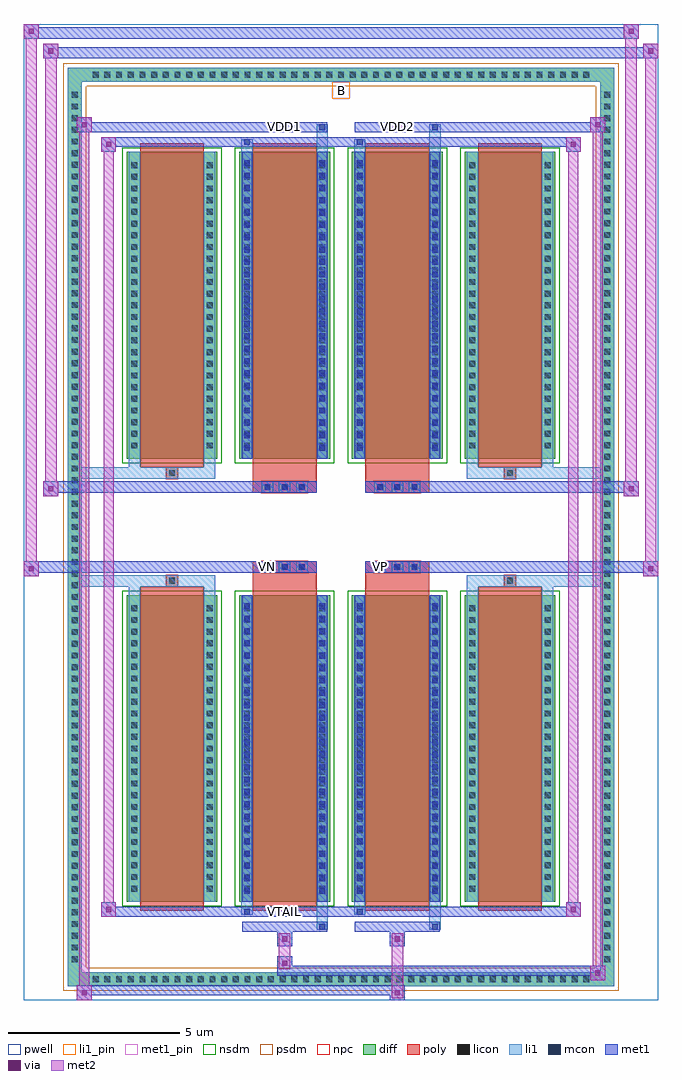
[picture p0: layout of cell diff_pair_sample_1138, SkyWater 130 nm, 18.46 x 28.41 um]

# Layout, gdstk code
import gdstk
lib = gdstk.Library(unit=1e-6, precision=5e-09)
def R(c, l, rs):  # rectangles x0, y0, x1, y1
    for r in rs: c.add(gdstk.rectangle(r[:2], r[2:], *l))
def A(c, l, x, y, w, h, nx, ny, dx, dy):  # array of equal rectangles
    R(c, l, [(x+i*dx, y+j*dy, x+i*dx+w, y+j*dy+h) for i in range(nx) for j in range(ny)])
def P(c, l, *ps):  # polygons
    for p in ps: c.add(gdstk.Polygon(p, *l))
pwell = (64, 44)
diff = (65, 20)
poly = (66, 20)
licon = (66, 44)
li1_pin = (67, 16)
li1 = (67, 20)
mcon = (67, 44)
met1_pin = (68, 16)
met1 = (68, 20)
via = (68, 44)
met2 = (69, 20)
nsdm = (93, 44)
psdm = (94, 20)
npc = (95, 20)

diff_pair_sample_1138 = lib.new_cell('diff_pair_sample_1138')
R(diff_pair_sample_1138, pwell, [(-9.23,-13.77,9.23,14.64), (-6.55,-11.96,-0.01,-0.8), (0.01,-11.96,6.55,-0.8), (-6.55,0.8,-0.01,11.96), (0.01,0.8,6.55,11.96)])
A(diff_pair_sample_1138, diff, -7.345, -13.37, 0.41, 0.41, 43, 2, 0.34, 26.33)
A(diff_pair_sample_1138, diff, -7.96, -12.785, 0.41, 0.41, 1, 75, 0, 0.34)
A(diff_pair_sample_1138, diff, 7.55, -12.785, 0.41, 0.41, 1, 75, 0, 0.34)
A(diff_pair_sample_1138, diff, -6.24, -10.915, 2.64, 8.93, 4, 2, 3.28, 12.9)
R(diff_pair_sample_1138, diff, [(-7.345,-13.37,7.345,-12.96), (-7.96,-12.785,-7.55,12.785), (7.55,-12.785,7.96,12.785), (-7.345,12.96,7.345,13.37)])
P(diff_pair_sample_1138, diff, [(7.96,13.37),(-7.96,13.37),(-7.96,-12.96),(-7.55,-12.96),(-7.55,12.96),(7.55,12.96),(7.55,-12.96),(-7.55,-12.96),(-7.96,-12.96),(-7.96,-13.37),(7.96,-13.37)])
A(diff_pair_sample_1138, poly, -5.85, -11.165, 1.86, 9.43, 4, 2, 3.28, 12.9)
A(diff_pair_sample_1138, poly, -2.305, -1.33, 0.33, 0.33, 3, 2, 0.5, 2.33)
A(diff_pair_sample_1138, poly, 0.975, -1.33, 0.33, 0.33, 3, 2, 0.5, 2.33)
R(diff_pair_sample_1138, poly, [(-5.085,-1.735,-4.755,-1.405), (-5.085,-1.735,-4.755,-1.405), (-2.57,-1.735,-0.71,-1.33), (0.71,-1.735,2.57,-1.33), (4.755,-1.735,5.085,-1.405), (4.755,-1.735,5.085,-1.405), (-2.57,-1.33,-0.71,-1), (0.71,-1.33,2.57,-1), (-2.57,1,-0.71,1.33), (0.71,1,2.57,1.33), (-2.57,1.33,-0.71,1.735), (0.71,1.33,2.57,1.735), (-5.085,1.405,-4.755,1.735), (-5.085,1.405,-4.755,1.735), (4.755,1.405,5.085,1.735), (4.755,1.405,5.085,1.735)])
A(diff_pair_sample_1138, licon, -7.225, -13.25, 0.17, 0.17, 43, 2, 0.34, 26.33)
A(diff_pair_sample_1138, licon, -7.84, -12.665, 0.17, 0.17, 1, 75, 0, 0.34)
A(diff_pair_sample_1138, licon, 7.67, -12.665, 0.17, 0.17, 1, 75, 0, 0.34)
A(diff_pair_sample_1138, licon, -6.1, -10.615, 0.17, 0.17, 1, 25, 0, 0.34)
A(diff_pair_sample_1138, licon, -3.91, -10.615, 0.17, 0.17, 1, 25, 0, 0.34)
A(diff_pair_sample_1138, licon, -2.82, -10.615, 0.17, 0.17, 1, 25, 0, 0.34)
A(diff_pair_sample_1138, licon, -0.63, -10.615, 0.17, 0.17, 1, 25, 0, 0.34)
A(diff_pair_sample_1138, licon, 0.46, -10.615, 0.17, 0.17, 1, 25, 0, 0.34)
A(diff_pair_sample_1138, licon, 2.65, -10.615, 0.17, 0.17, 1, 25, 0, 0.34)
A(diff_pair_sample_1138, licon, 3.74, -10.615, 0.17, 0.17, 1, 25, 0, 0.34)
A(diff_pair_sample_1138, licon, 5.93, -10.615, 0.17, 0.17, 1, 25, 0, 0.34)
A(diff_pair_sample_1138, licon, -2.225, -1.25, 0.17, 0.17, 3, 2, 0.5, 2.33)
A(diff_pair_sample_1138, licon, 1.055, -1.25, 0.17, 0.17, 3, 2, 0.5, 2.33)
A(diff_pair_sample_1138, licon, -6.1, 2.285, 0.17, 0.17, 1, 25, 0, 0.34)
A(diff_pair_sample_1138, licon, -3.91, 2.285, 0.17, 0.17, 1, 25, 0, 0.34)
A(diff_pair_sample_1138, licon, -2.82, 2.285, 0.17, 0.17, 1, 25, 0, 0.34)
A(diff_pair_sample_1138, licon, -0.63, 2.285, 0.17, 0.17, 1, 25, 0, 0.34)
A(diff_pair_sample_1138, licon, 0.46, 2.285, 0.17, 0.17, 1, 25, 0, 0.34)
A(diff_pair_sample_1138, licon, 2.65, 2.285, 0.17, 0.17, 1, 25, 0, 0.34)
A(diff_pair_sample_1138, licon, 3.74, 2.285, 0.17, 0.17, 1, 25, 0, 0.34)
A(diff_pair_sample_1138, licon, 5.93, 2.285, 0.17, 0.17, 1, 25, 0, 0.34)
R(diff_pair_sample_1138, licon, [(-5.005,-1.655,-4.835,-1.485), (4.835,-1.655,5.005,-1.485), (-5.005,1.485,-4.835,1.655), (4.835,1.485,5.005,1.655)])
R(diff_pair_sample_1138, li1_pin, [(-0.25,12.46,0.25,12.96)])
A(diff_pair_sample_1138, li1, -7.305, -13.33, 0.33, 0.33, 43, 2, 0.34, 26.33)
A(diff_pair_sample_1138, li1, -7.92, -12.745, 0.33, 0.33, 1, 75, 0, 0.34)
A(diff_pair_sample_1138, li1, 7.59, -12.745, 0.33, 0.33, 1, 75, 0, 0.34)
A(diff_pair_sample_1138, li1, -6.18, -10.695, 0.33, 0.33, 1, 25, 0, 0.34)
A(diff_pair_sample_1138, li1, -3.99, -10.695, 0.33, 0.33, 1, 25, 0, 0.34)
A(diff_pair_sample_1138, li1, -2.9, -10.695, 0.33, 0.33, 1, 25, 0, 0.34)
A(diff_pair_sample_1138, li1, -0.71, -10.695, 0.33, 0.33, 1, 25, 0, 0.34)
A(diff_pair_sample_1138, li1, 0.38, -10.695, 0.33, 0.33, 1, 25, 0, 0.34)
A(diff_pair_sample_1138, li1, 2.57, -10.695, 0.33, 0.33, 1, 25, 0, 0.34)
A(diff_pair_sample_1138, li1, 3.66, -10.695, 0.33, 0.33, 1, 25, 0, 0.34)
A(diff_pair_sample_1138, li1, 5.85, -10.695, 0.33, 0.33, 1, 25, 0, 0.34)
A(diff_pair_sample_1138, li1, -2.82, -10.675, 0.17, 0.17, 1, 24, 0, 0.36)
A(diff_pair_sample_1138, li1, -0.63, -10.675, 0.17, 0.17, 1, 24, 0, 0.36)
A(diff_pair_sample_1138, li1, 0.46, -10.675, 0.17, 0.17, 1, 24, 0, 0.36)
A(diff_pair_sample_1138, li1, 2.65, -10.675, 0.17, 0.17, 1, 24, 0, 0.36)
A(diff_pair_sample_1138, li1, -2.305, -1.33, 0.33, 0.33, 3, 2, 0.5, 2.33)
A(diff_pair_sample_1138, li1, 0.975, -1.33, 0.33, 0.33, 3, 2, 0.5, 2.33)
A(diff_pair_sample_1138, li1, -6.18, 2.205, 0.33, 0.33, 1, 25, 0, 0.34)
A(diff_pair_sample_1138, li1, -3.99, 2.205, 0.33, 0.33, 1, 25, 0, 0.34)
A(diff_pair_sample_1138, li1, -2.9, 2.205, 0.33, 0.33, 1, 25, 0, 0.34)
A(diff_pair_sample_1138, li1, -0.71, 2.205, 0.33, 0.33, 1, 25, 0, 0.34)
A(diff_pair_sample_1138, li1, 0.38, 2.205, 0.33, 0.33, 1, 25, 0, 0.34)
A(diff_pair_sample_1138, li1, 2.57, 2.205, 0.33, 0.33, 1, 25, 0, 0.34)
A(diff_pair_sample_1138, li1, 3.66, 2.205, 0.33, 0.33, 1, 25, 0, 0.34)
A(diff_pair_sample_1138, li1, 5.85, 2.205, 0.33, 0.33, 1, 25, 0, 0.34)
A(diff_pair_sample_1138, li1, -2.82, 2.225, 0.17, 0.17, 1, 24, 0, 0.36)
A(diff_pair_sample_1138, li1, -0.63, 2.225, 0.17, 0.17, 1, 24, 0, 0.36)
A(diff_pair_sample_1138, li1, 0.46, 2.225, 0.17, 0.17, 1, 24, 0, 0.36)
A(diff_pair_sample_1138, li1, 2.65, 2.225, 0.17, 0.17, 1, 24, 0, 0.36)
R(diff_pair_sample_1138, li1, [(-7.96,-13.37,-7.55,-12.96), (-7.96,-13.37,-7.55,-12.96), (-7.55,-13.37,7.55,-12.96), (7.55,-13.37,7.96,-12.96), (7.55,-13.37,7.96,-12.96), (-7.96,-12.96,-7.55,12.96), (7.55,-12.96,7.96,12.96), (-0.71,-11.72,-0.38,-10.915), (-0.63,-11.72,-0.46,-11.55), (2.57,-11.72,2.9,-10.915), (2.65,-11.72,2.82,-11.55), (-2.9,-11.29,-2.57,-10.915), (-2.82,-11.29,-2.65,-11.12), (0.38,-11.29,0.71,-10.915), (0.46,-11.29,0.63,-11.12), (-6.18,-10.915,-5.85,-1.985), (-3.99,-10.915,-3.66,-1.985), (-2.9,-10.915,-2.57,-1.985), (-0.71,-10.915,-0.38,-1.985), (0.38,-10.915,0.71,-1.985), (2.57,-10.915,2.9,-1.985), (3.66,-10.915,3.99,-1.985), (5.85,-10.915,6.18,-1.985), (-2.82,-10.675,-2.65,-2.225), (-0.63,-10.675,-0.46,-2.225), (0.46,-10.675,0.63,-2.225), (2.65,-10.675,2.82,-2.225), (-6.18,-1.985,-5.85,-1.405), (-3.99,-1.985,-3.66,-1.405), (3.66,-1.985,3.99,-1.405), (5.85,-1.985,6.18,-1.405), (-7.96,-1.735,-5.085,-1.405), (-6.18,-1.735,-5.085,-1.405), (-5.085,-1.735,-4.755,-1.405), (-4.755,-1.735,-3.66,-1.405), (3.66,-1.735,4.755,-1.405), (4.755,-1.735,5.085,-1.405), (4.755,-1.735,7.96,-1.405), (5.085,-1.735,6.18,-1.405), (-7.96,1.405,-5.085,1.735), (-6.18,1.405,-5.085,1.735), (-6.18,1.405,-5.85,1.985), (-5.085,1.405,-4.755,1.735), (-4.755,1.405,-3.66,1.735), (-3.99,1.405,-3.66,1.985), (3.66,1.405,4.755,1.735), (3.66,1.405,3.99,1.985), (4.755,1.405,5.085,1.735), (4.755,1.405,7.96,1.735), (5.085,1.405,6.18,1.735), (5.85,1.405,6.18,1.985), (-6.18,1.985,-5.85,10.915), (-3.99,1.985,-3.66,10.915), (-2.9,1.985,-2.57,10.915), (-0.71,1.985,-0.38,10.915), (0.38,1.985,0.71,10.915), (2.57,1.985,2.9,10.915), (3.66,1.985,3.99,10.915), (5.85,1.985,6.18,10.915), (-2.82,2.225,-2.65,10.675), (-0.63,2.225,-0.46,10.675), (0.46,2.225,0.63,10.675), (2.65,2.225,2.82,10.675), (-2.9,10.915,-2.57,11.29), (-0.71,10.915,-0.38,11.72), (0.38,10.915,0.71,11.29), (2.57,10.915,2.9,11.72), (-2.82,11.12,-2.65,11.29), (0.46,11.12,0.63,11.29), (-0.63,11.55,-0.46,11.72), (2.65,11.55,2.82,11.72), (-7.96,12.96,-7.55,13.37), (-7.96,12.96,-7.55,13.37), (-7.55,12.96,7.55,13.37), (7.55,12.96,7.96,13.37), (7.55,12.96,7.96,13.37)])
A(diff_pair_sample_1138, mcon, -2.82, -10.675, 0.17, 0.17, 1, 24, 0, 0.36)
A(diff_pair_sample_1138, mcon, -0.63, -10.675, 0.17, 0.17, 1, 24, 0, 0.36)
A(diff_pair_sample_1138, mcon, 0.46, -10.675, 0.17, 0.17, 1, 24, 0, 0.36)
A(diff_pair_sample_1138, mcon, 2.65, -10.675, 0.17, 0.17, 1, 24, 0, 0.36)
A(diff_pair_sample_1138, mcon, -2.225, -1.25, 0.17, 0.17, 3, 2, 0.5, 2.33)
A(diff_pair_sample_1138, mcon, 1.055, -1.25, 0.17, 0.17, 3, 2, 0.5, 2.33)
A(diff_pair_sample_1138, mcon, -2.82, 2.225, 0.17, 0.17, 1, 24, 0, 0.36)
A(diff_pair_sample_1138, mcon, -0.63, 2.225, 0.17, 0.17, 1, 24, 0, 0.36)
A(diff_pair_sample_1138, mcon, 0.46, 2.225, 0.17, 0.17, 1, 24, 0, 0.36)
A(diff_pair_sample_1138, mcon, 2.65, 2.225, 0.17, 0.17, 1, 24, 0, 0.36)
R(diff_pair_sample_1138, mcon, [(-0.63,-11.72,-0.46,-11.55), (2.65,-11.72,2.82,-11.55), (-2.82,-11.29,-2.65,-11.12), (0.46,-11.29,0.63,-11.12), (-2.82,11.12,-2.65,11.29), (0.46,11.12,0.63,11.29), (-0.63,11.55,-0.46,11.72), (2.65,11.55,2.82,11.72)])
R(diff_pair_sample_1138, met1_pin, [(-1.775,-11.33,-1.505,-11.06), (-2.275,-1.29,-2.005,-1.02), (1.005,-1.29,1.275,-1.02), (-1.775,11.51,-1.505,11.78), (1.505,11.51,1.775,11.78)])
A(diff_pair_sample_1138, met1, -2.88, -10.735, 0.29, 0.29, 1, 24, 0, 0.36)
A(diff_pair_sample_1138, met1, -0.69, -10.735, 0.29, 0.29, 1, 24, 0, 0.36)
A(diff_pair_sample_1138, met1, 0.4, -10.735, 0.29, 0.29, 1, 24, 0, 0.36)
A(diff_pair_sample_1138, met1, 2.59, -10.735, 0.29, 0.29, 1, 24, 0, 0.36)
A(diff_pair_sample_1138, met1, -2.285, -1.31, 0.29, 0.29, 3, 2, 0.5, 2.33)
A(diff_pair_sample_1138, met1, 0.995, -1.31, 0.29, 0.29, 3, 2, 0.5, 2.33)
A(diff_pair_sample_1138, met1, -2.88, 2.165, 0.29, 0.29, 1, 24, 0, 0.36)
A(diff_pair_sample_1138, met1, -0.69, 2.165, 0.29, 0.29, 1, 24, 0, 0.36)
A(diff_pair_sample_1138, met1, 0.4, 2.165, 0.29, 0.29, 1, 24, 0, 0.36)
A(diff_pair_sample_1138, met1, 2.59, 2.165, 0.29, 0.29, 1, 24, 0, 0.36)
R(diff_pair_sample_1138, met1, [(-7.69,-13.77,-7.26,-13.34), (1.425,-13.77,1.855,-13.34), (-7.69,-13.63,1.855,-13.34), (7.26,-13.2,7.69,-12.77), (-1.855,-13.06,7.69,-12.77), (-1.855,-12.92,-1.425,-12.49), (-1.855,-12.21,-1.425,-11.78), (1.425,-12.21,1.855,-11.78), (-2.88,-11.78,-0.4,-11.49), (-0.69,-11.78,-0.4,-11.49), (0.4,-11.78,2.88,-11.49), (2.59,-11.78,2.88,-11.49), (-6.98,-11.35,-6.55,-10.92), (-6.98,-11.35,-2.88,-11.06), (-2.88,-11.35,-2.59,-11.06), (-2.88,-11.35,-0.4,-11.06), (-0.4,-11.35,0.4,-11.06), (0.4,-11.35,0.69,-11.06), (0.4,-11.35,2.88,-11.06), (2.88,-11.35,6.98,-11.06), (6.55,-11.35,6.98,-10.92), (-2.88,-10.915,-2.59,-1.985), (-0.69,-10.915,-0.4,-1.985), (0.4,-10.915,0.69,-1.985), (2.59,-10.915,2.88,-1.985), (-9.23,-1.43,-8.8,-1), (8.8,-1.43,9.23,-1), (-9.23,-1.33,-0.71,-1), (-2.57,-1.33,-0.71,-1), (0.71,-1.33,2.57,-1), (0.71,-1.33,9.23,-1), (-8.66,0.9,-8.23,1.33), (8.23,0.9,8.66,1.33), (-8.66,1,-2.57,1.33), (-2.57,1,-0.71,1.33), (0.71,1,2.57,1.33), (2.57,1,8.66,1.33), (-2.88,1.985,-2.59,10.915), (-0.69,1.985,-0.4,10.915), (0.4,1.985,0.69,10.915), (2.59,1.985,2.88,10.915), (-6.98,10.92,-6.55,11.35), (6.55,10.92,6.98,11.35), (-6.98,11.06,-2.88,11.35), (-2.88,11.06,-2.59,11.35), (-2.88,11.06,-0.4,11.35), (-0.4,11.06,0.4,11.35), (0.4,11.06,0.69,11.35), (0.4,11.06,2.88,11.35), (2.88,11.06,6.98,11.35), (-7.69,11.49,-7.26,11.92), (-7.69,11.49,-2.88,11.78), (-2.88,11.49,-0.4,11.78), (-0.69,11.49,-0.4,11.78), (0.4,11.49,2.88,11.78), (2.59,11.49,2.88,11.78), (2.88,11.49,7.69,11.78), (7.26,11.49,7.69,11.92), (-8.66,13.64,-8.23,14.07), (-8.66,13.64,-6.55,13.97), (-6.55,13.64,6.55,13.97), (6.55,13.64,9.23,13.97), (8.8,13.64,9.23,14.07), (-9.23,14.21,-8.8,14.64), (-9.23,14.21,-6.55,14.54), (-6.55,14.21,6.55,14.54), (6.55,14.21,8.66,14.54), (8.23,14.21,8.66,14.64)])
R(diff_pair_sample_1138, via, [(-7.55,-13.63,-7.4,-13.48), (1.565,-13.63,1.715,-13.48), (7.4,-13.06,7.55,-12.91), (-1.715,-12.78,-1.565,-12.63), (-1.715,-12.07,-1.565,-11.92), (1.565,-12.07,1.715,-11.92), (-6.84,-11.21,-6.69,-11.06), (6.69,-11.21,6.84,-11.06), (-9.09,-1.29,-8.94,-1.14), (8.94,-1.29,9.09,-1.14), (-8.52,1.04,-8.37,1.19), (8.37,1.04,8.52,1.19), (-6.84,11.06,-6.69,11.21), (6.69,11.06,6.84,11.21), (-7.55,11.63,-7.4,11.78), (7.4,11.63,7.55,11.78), (-8.52,13.78,-8.37,13.93), (8.94,13.78,9.09,13.93), (-9.09,14.35,-8.94,14.5), (8.37,14.35,8.52,14.5)])
R(diff_pair_sample_1138, met2, [(-7.69,-13.77,-7.26,-13.34), (-7.62,-13.77,-7.33,11.92), (-7.33,-13.77,-7.26,-13.34), (-7.64,-13.72,-7.31,-13.39), (1.475,-13.72,1.805,-13.39), (1.475,-13.39,1.805,-12.16), (7.26,-13.2,7.69,-12.77), (7.33,-13.2,7.62,11.92), (7.62,-13.2,7.69,-12.77), (7.31,-13.15,7.64,-12.82), (-1.805,-12.87,-1.475,-12.54), (-1.805,-12.54,-1.475,-12.16), (-1.805,-12.16,-1.475,-11.83), (1.475,-12.16,1.805,-11.83), (-6.98,-11.35,-6.55,-10.92), (-6.91,-11.35,-6.62,11.35), (-6.62,-11.35,-6.55,-10.92), (6.55,-11.35,6.98,-10.92), (6.62,-11.35,6.91,11.35), (6.91,-11.35,6.98,-10.92), (-6.93,-11.3,-6.6,-10.97), (6.6,-11.3,6.93,-10.97), (-9.23,-1.43,-8.8,-1), (-9.18,-1.43,-8.85,14.64), (-8.85,-1.43,-8.8,-1), (8.8,-1.43,9.23,-1), (8.85,-1.43,9.18,14.07), (9.18,-1.43,9.23,-1), (-9.18,-1.38,-8.85,-1.05), (8.85,-1.38,9.18,-1.05), (-8.66,0.9,-8.23,1.33), (-8.61,0.9,-8.28,14.07), (-8.28,0.9,-8.23,1.33), (8.23,0.9,8.66,1.33), (8.28,0.9,8.61,14.64), (8.61,0.9,8.66,1.33), (-8.61,0.95,-8.28,1.28), (8.28,0.95,8.61,1.28), (-6.98,10.92,-6.55,11.35), (-6.62,10.92,-6.55,11.35), (6.55,10.92,6.98,11.35), (6.91,10.92,6.98,11.35), (-6.93,10.97,-6.6,11.3), (6.6,10.97,6.93,11.3), (-7.69,11.49,-7.26,11.92), (-7.33,11.49,-7.26,11.92), (7.26,11.49,7.69,11.92), (7.62,11.49,7.69,11.92), (-7.64,11.54,-7.31,11.87), (7.31,11.54,7.64,11.87), (-8.66,13.64,-8.23,14.07), (-8.28,13.64,-8.23,14.07), (8.8,13.64,9.23,14.07), (9.18,13.64,9.23,14.07), (-8.61,13.69,-8.28,14.02), (8.85,13.69,9.18,14.02), (-9.23,14.21,-8.8,14.64), (-8.85,14.21,-8.8,14.64), (8.23,14.21,8.66,14.64), (8.61,14.21,8.66,14.64), (-9.18,14.26,-8.85,14.59), (8.28,14.26,8.61,14.59)])
A(diff_pair_sample_1138, nsdm, -6.37, -11.045, 2.9, 9.19, 4, 2, 3.28, 12.9)
P(diff_pair_sample_1138, psdm, [(8.09,13.5),(-8.09,13.5),(-8.09,-12.83),(-7.42,-12.83),(-7.42,12.83),(7.42,12.83),(7.42,-12.83),(-7.42,-12.83),(-8.09,-12.83),(-8.09,-13.5),(8.09,-13.5)])
A(diff_pair_sample_1138, npc, -2.325, -1.35, 0.37, 0.37, 3, 2, 0.5, 2.33)
A(diff_pair_sample_1138, npc, 0.955, -1.35, 0.37, 0.37, 3, 2, 0.5, 2.33)
R(diff_pair_sample_1138, npc, [(-5.105,-1.755,-4.735,-1.385), (4.735,-1.755,5.105,-1.385), (-2.325,-1.35,-1.455,-0.98), (-2.325,-1.35,-1.455,-0.98), (-1.825,-1.35,-0.955,-0.98), (-1.825,-1.35,-0.955,-0.98), (0.955,-1.35,1.825,-0.98), (0.955,-1.35,1.825,-0.98), (1.455,-1.35,2.325,-0.98), (1.455,-1.35,2.325,-0.98), (-2.325,0.98,-1.455,1.35), (-2.325,0.98,-1.455,1.35), (-1.825,0.98,-0.955,1.35), (-1.825,0.98,-0.955,1.35), (0.955,0.98,1.825,1.35), (0.955,0.98,1.825,1.35), (1.455,0.98,2.325,1.35), (1.455,0.98,2.325,1.35), (-5.105,1.385,-4.735,1.755), (4.735,1.385,5.105,1.755)])
diff_pair_sample_1138.add(gdstk.Label('VTAIL', (-1.64,-11.195), layer=68, texttype=5))
diff_pair_sample_1138.add(gdstk.Label('VN', (-2.14,-1.155), layer=68, texttype=5))
diff_pair_sample_1138.add(gdstk.Label('VP', (1.14,-1.155), layer=68, texttype=5))
diff_pair_sample_1138.add(gdstk.Label('B', (0,12.71), layer=67, texttype=5))
diff_pair_sample_1138.add(gdstk.Label('VDD2', (1.64,11.645), layer=68, texttype=5))
diff_pair_sample_1138.add(gdstk.Label('VDD1', (-1.64,11.645), layer=68, texttype=5))

lib.write_gds('diff_pair_sample_1138.gds')
